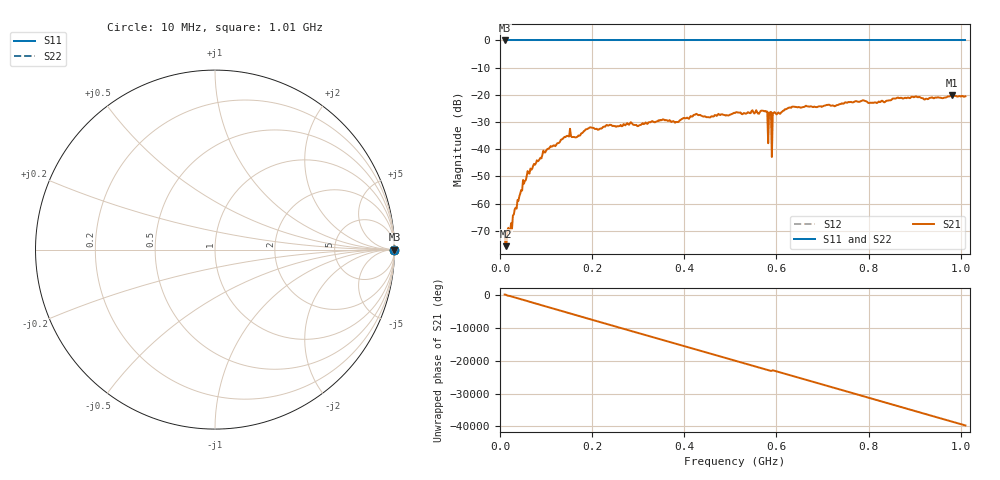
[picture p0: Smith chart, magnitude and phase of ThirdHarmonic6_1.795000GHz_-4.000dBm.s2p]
! 8/16/2025 9:42:59 PM
! C:\ANRITSUVNA\TEMP\TEMP.S2P
! CHANNEL.1
! TR.MEASUREMENT
! RAW.DATA
! RF.CORRECTION.OFF
! AVERAGING.OFF
! IF.BANDWIDTH: 5KHZ
! SWEEPTYPE:  FREQ.SWEEP(Linear)
! Reference Plane Port Info
! PORT:  PORT1  PORT2
! DISTANCE:  0  m  0  m
! TIME:  0  s  0  s
! PHASE.OFFSET:  0  deg.  0  deg.
! LOSS:  0  dB  0  dB
! REF.LOSS:  0  dB  0  dB
! REF.FREQ:  0  Hz  0  Hz
! Power Info
! POWER:  -20  dBm  -20  dBm
! EFF.POWER:  -20  dBm  -20  dBm
! SOURCE.ATTEN:  0  dB  0  dB
! TEST.ATTEN:  0  dB  0  dB
# GHZ S RI R 50.0
! FREQ.GHZ  S11RE  S11IM  S21RE  S21IM  S12RE  S12IM  S22RE  S22IM
!; PortSelection: Port_12
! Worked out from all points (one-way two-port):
!   501 points, 10 MHz to 1.01 GHz, reference 50 ohm
!   highest |S21| = -20.23 dB at 980 MHz (marker M1); lowest = -75.7 dB at 12 MHz (marker M2)
!   lowest |S11| = 0.0 dB at 10 MHz (marker M3)
!   |S11| at or under -10 dB: nowhere
!   |S22| runs from 0.0 to 0.0 dB; largest |S21 - S12| = 1.1
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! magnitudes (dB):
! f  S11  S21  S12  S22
! 10 MHz  0.0  -70.5  0.0  0.0
! 12 MHz  0.0  -75.7  0.0  0.0
! 24 MHz  0.0  -67.2  0.0  0.0
! 54 MHz  0.0  -51.6  0.0  0.0
! 70 MHz  0.0  -47.2  0.0  0.0
! 98 MHz  0.0  -41.2  0.0  0.0
! 148 MHz  0.0  -35.2  0.0  0.0
! 178 MHz  0.0  -34.1  0.0  0.0
! 196 MHz  0.0  -31.9  0.0  0.0
! 344 MHz  0.0  -29.4  0.0  0.0
! 510 MHz  0.0  -26.7  0.0  0.0
! 576 MHz  0.0  -25.9  0.0  0.0
! 578 MHz  0.0  -26.3  0.0  0.0
! 584 MHz  0.0  -26.5  0.0  0.0
! 586 MHz  0.0  -26.6  0.0  0.0
! 588 MHz  0.0  -26.3  0.0  0.0
! 594 MHz  0.0  -26.6  0.0  0.0
! 596 MHz  0.0  -26.4  0.0  0.0
! 678 MHz  0.0  -24.4  0.0  0.0
! 844 MHz  0.0  -22.0  0.0  0.0
! 980 MHz  0.0  -20.2  0.0  0.0
! 1.01 GHz  0.0  -20.6  0.0  0.0
